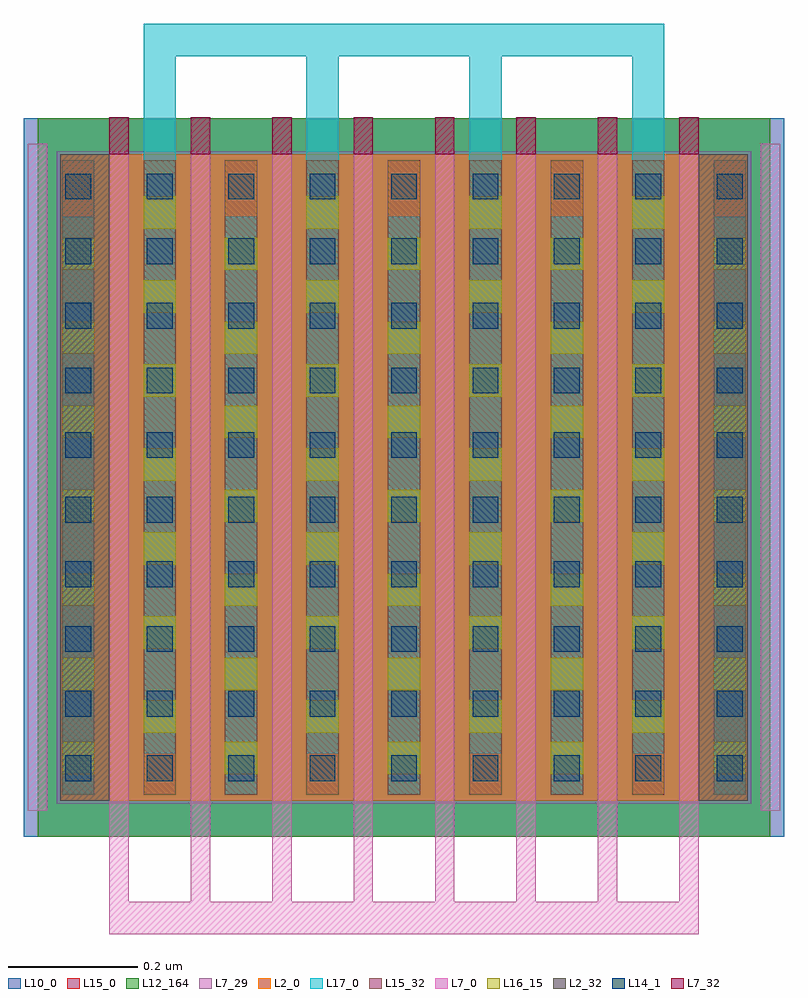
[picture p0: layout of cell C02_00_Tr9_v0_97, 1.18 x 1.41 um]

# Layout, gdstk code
import gdstk
lib = gdstk.Library(unit=1e-6, precision=1e-09)
def R(c, l, rs):  # rectangles x0, y0, x1, y1
    for r in rs: c.add(gdstk.rectangle(r[:2], r[2:], *l))
def A(c, l, x, y, w, h, nx, ny, dx, dy):  # array of equal rectangles
    R(c, l, [(x+i*dx, y+j*dy, x+i*dx+w, y+j*dy+h) for i in range(nx) for j in range(ny)])
L2_0 = (2, 0)
L2_32 = (2, 32)
L7_0 = (7, 0)
L7_29 = (7, 29)
L7_32 = (7, 32)
L10_0 = (10, 0)
L12_164 = (12, 164)
L14_1 = (14, 1)
L15_0 = (15, 0)
L15_32 = (15, 32)
L16_15 = (16, 15)
L17_0 = (17, 0)

c02_00_tr9_v0_97_srf_pmo = lib.new_cell('C02_00_Tr9_v0_97:SRF_Pmos:SRF_Source_ViaM1M2:SRF_ViaM1M2')
R(c02_00_tr9_v0_97_srf_pmo, L15_0, [(0,-0.812,0.05,0.082)])
A(c02_00_tr9_v0_97_srf_pmo, L16_15, 0, -0.78, 0.05, 0.05, 1, 7, 0, 0.13)
R(c02_00_tr9_v0_97_srf_pmo, L17_0, [(0,-0.812,0.05,0.082)])

c_c02_00_tr9_v0_97_srf_pmo = lib.new_cell('C02_00_Tr9_v0_97:SRF_Pmos:SRF_Source_ViaM1M2')
c_c02_00_tr9_v0_97_srf_pmo.add(gdstk.Reference(c02_00_tr9_v0_97_srf_pmo, (-0.025,0.365)))

c_c02_00_tr9_v0_97_srf_pmo_ = lib.new_cell('C02_00_Tr9_v0_97:SRF_Pmos:SRF_Drain_ViaM1M2:SRF_ViaM1M2')
R(c_c02_00_tr9_v0_97_srf_pmo_, L15_0, [(0,-0.812,0.05,0.082)])
A(c_c02_00_tr9_v0_97_srf_pmo_, L16_15, 0, -0.78, 0.05, 0.05, 1, 7, 0, 0.13)
R(c_c02_00_tr9_v0_97_srf_pmo_, L17_0, [(0,-0.812,0.05,0.082)])

c_c02_00_tr9_v0_97_srf_pmo__ = lib.new_cell('C02_00_Tr9_v0_97:SRF_Pmos:SRF_Drain_ViaM1M2')
c_c02_00_tr9_v0_97_srf_pmo__.add(gdstk.Reference(c_c02_00_tr9_v0_97_srf_pmo_, (-0.025,0.365)))

c_c02_00_tr9_v0_97_srf_pmo___ = lib.new_cell('C02_00_Tr9_v0_97:SRF_Pmos')
R(c_c02_00_tr9_v0_97_srf_pmo___, L2_0, [(-0.076,0.057,0.988,1.057)])
R(c_c02_00_tr9_v0_97_srf_pmo___, L2_32, [(-0.076,0.057,0,1.057), (0.912,0.057,0.988,1.057)])
A(c_c02_00_tr9_v0_97_srf_pmo___, L7_0, 0, 0, 0.03, 1.114, 8, 1, 0.126, 0)
R(c_c02_00_tr9_v0_97_srf_pmo___, L7_0, [(-0.126,0.041,-0.096,1.073), (1.008,0.041,1.038,1.073)])
R(c_c02_00_tr9_v0_97_srf_pmo___, L7_29, [(-0.081,0.052,0.993,1.062)])
A(c_c02_00_tr9_v0_97_srf_pmo___, L7_32, 0, 1.057, 0.03, 0.057, 8, 1, 0.126, 0)
R(c_c02_00_tr9_v0_97_srf_pmo___, L10_0, [(-0.132,0.001,1.044,1.113)])
R(c_c02_00_tr9_v0_97_srf_pmo___, L12_164, [(-0.111,0.001,1.023,1.113)])
A(c_c02_00_tr9_v0_97_srf_pmo___, L14_1, -0.068, 0.087, 0.04, 0.04, 9, 10, 0.126, 0.1)
R(c_c02_00_tr9_v0_97_srf_pmo___, L15_0, [(-0.073,0.066,-0.023,1.048), (-0.073,0.066,-0.023,1.048), (0.053,0.066,0.103,1.048), (0.053,0.066,0.103,1.048), (0.179,0.066,0.229,1.048), (0.179,0.066,0.229,1.048), (0.305,0.066,0.355,1.048), (0.305,0.066,0.355,1.048), (0.431,0.066,0.481,1.048), (0.431,0.066,0.481,1.048), (0.557,0.066,0.607,1.048), (0.557,0.066,0.607,1.048), (0.683,0.066,0.733,1.048), (0.683,0.066,0.733,1.048), (0.809,0.066,0.859,1.048), (0.809,0.066,0.859,1.048), (0.935,0.066,0.985,1.048), (0.935,0.066,0.985,1.048)])
A(c_c02_00_tr9_v0_97_srf_pmo___, L15_32, -0.073, 0.066, 0.05, 0.982, 9, 1, 0.126, 0)
c_c02_00_tr9_v0_97_srf_pmo___.add(gdstk.Reference(c_c02_00_tr9_v0_97_srf_pmo, (-0.048,0.513)))
c_c02_00_tr9_v0_97_srf_pmo___.add(gdstk.Reference(c_c02_00_tr9_v0_97_srf_pmo, (0.204,0.513)))
c_c02_00_tr9_v0_97_srf_pmo___.add(gdstk.Reference(c_c02_00_tr9_v0_97_srf_pmo, (0.456,0.513)))
c_c02_00_tr9_v0_97_srf_pmo___.add(gdstk.Reference(c_c02_00_tr9_v0_97_srf_pmo, (0.708,0.513)))
c_c02_00_tr9_v0_97_srf_pmo___.add(gdstk.Reference(c_c02_00_tr9_v0_97_srf_pmo, (0.96,0.513)))
c_c02_00_tr9_v0_97_srf_pmo___.add(gdstk.Reference(c_c02_00_tr9_v0_97_srf_pmo__, (0.078,0.577)))
c_c02_00_tr9_v0_97_srf_pmo___.add(gdstk.Reference(c_c02_00_tr9_v0_97_srf_pmo__, (0.33,0.577)))
c_c02_00_tr9_v0_97_srf_pmo___.add(gdstk.Reference(c_c02_00_tr9_v0_97_srf_pmo__, (0.582,0.577)))
c_c02_00_tr9_v0_97_srf_pmo___.add(gdstk.Reference(c_c02_00_tr9_v0_97_srf_pmo__, (0.834,0.577)))

c02_00_tr9_v0_97 = lib.new_cell('C02_00_Tr9_v0_97')
A(c02_00_tr9_v0_97, L7_0, 0, -0.1, 0.03, 0.1, 8, 1, 0.126, 0)
R(c02_00_tr9_v0_97, L7_0, [(0,-0.15,0.912,-0.1)])
A(c02_00_tr9_v0_97, L17_0, 0.053, 1.024, 0.05, 0.185, 4, 1, 0.252, 0)
R(c02_00_tr9_v0_97, L17_0, [(0.053,1.209,0.859,1.259)])
c02_00_tr9_v0_97.add(gdstk.Reference(c_c02_00_tr9_v0_97_srf_pmo___, (0,0)))

lib.write_gds('C02_00_Tr9_v0_97.gds')
